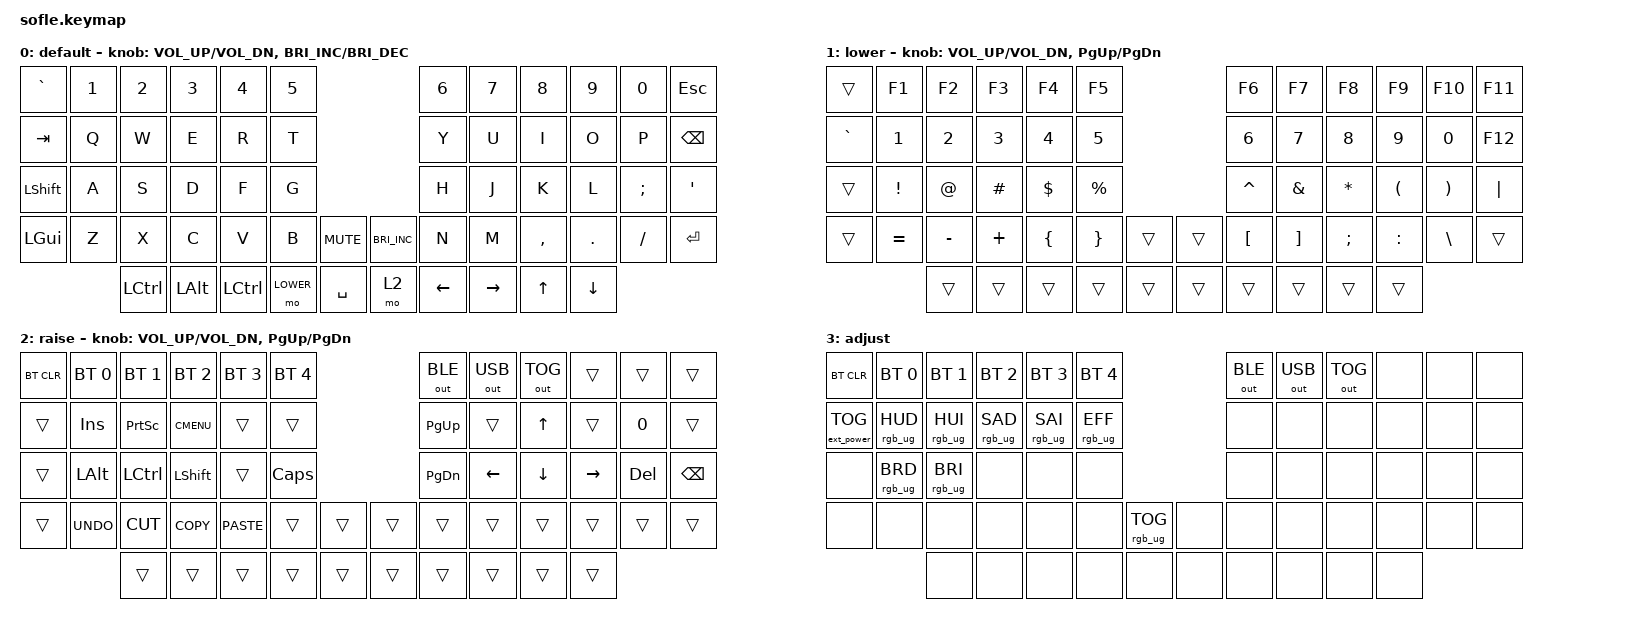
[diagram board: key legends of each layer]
/*
 * Copyright (c) 2020 The ZMK Contributors
 *
 * SPDX-License-Identifier: MIT
 */

#include <behaviors.dtsi>
#include <dt-bindings/zmk/bt.h>
#include <dt-bindings/zmk/ext_power.h>
#include <dt-bindings/zmk/keys.h>
#include <dt-bindings/zmk/outputs.h>
#include <dt-bindings/zmk/rgb.h>

#define BASE 0
#define LOWER 1
#define RAISE 2
#define ADJUST 3

/ {
    // Activate ADJUST layer by pressing raise and lower

    conditional_layers {
        compatible = "zmk,conditional-layers";

        adjust_layer {
            if-layers = <LOWER RAISE>;
            then-layer = <ADJUST>;
        };
    };

    keymap {
        compatible = "zmk,keymap";

        default_layer {
            display-name = "default";

            // ------------------------------------------------------------------------------------------------------------
            // |   `   |  1  |  2  |  3   |  4   |  5   |                   |  6   |  7    |  8    |  9   |   0   |       |
            // |  ESC  |  Q  |  W  |  E   |  R   |  T   |                   |  Y   |  U    |  I    |  O   |   P   | BKSPC |
            // |  TAB  |  A  |  S  |  D   |  F   |  G   |                   |  H   |  J    |  K    |  L   |   ;   |   '   |
            // | SHIFT |  Z  |  X  |  C   |  V   |  B   |  MUTE  |  |       |  N   |  M    |  ,    |  .   |   /   | SHIFT |
            //               | GUI | ALT  | CTRL | LOWER|  ENTER |  | SPACE | RAISE| CTRL  | ALT   | GUI  |

            bindings = <
&kp GRAVE   &kp N1  &kp N2     &kp N3    &kp N4     &kp N5                                         &kp N6    &kp N7           &kp N8        &kp N9    &kp N0    &kp ESC
&kp TAB     &kp Q   &kp W      &kp E     &kp R      &kp T                                          &kp Y     &kp U            &kp I         &kp O     &kp P     &kp BSPC
&kp LSHIFT  &kp A   &kp S      &kp D     &kp F      &kp G                                          &kp H     &kp J            &kp K         &kp L     &kp SEMI  &kp SQT
&kp LGUI    &kp Z   &kp X      &kp C     &kp V      &kp B      &kp C_MUTE    &kp C_BRIGHTNESS_INC  &kp N     &kp M            &kp COMMA     &kp DOT   &kp FSLH  &kp RETURN
                    &kp LCTRL  &kp LALT  &kp LCTRL  &mo LOWER  &kp SPACE     &mo 2                 &kp LEFT  &kp RIGHT_ARROW  &kp UP_ARROW  &kp DOWN
            >;

            sensor-bindings =
                <&inc_dec_kp C_VOL_UP C_VOL_DN>,
                <&inc_dec_kp C_BRIGHTNESS_INC C_BRIGHTNESS_DEC>;
        };

        lower_layer {
            display-name = "lower";

            // TODO: Some binds are waiting for shifted keycode support.
            // ------------------------------------------------------------------------------------------------------------
            // |       |  F1 |  F2 |  F3  |  F4  |  F5  |                   |  F6  |  F7   |  F8   |  F9  |  F10  |  F11  |
            // |   `   |  1  |  2  |  3   |  4   |  5   |                   |  6   |  7    |  8    |  9   |   0   |  F12  |
            // |       |  !  |  @  |  #   |  $   |  %   |                   |  ^   |  &    |  *    |  (   |   )   |   |   |
            // |       |  =  |  -  |  +   |  {   |  }   |        |  |       |  [   |  ]    |  ;    |  :   |   \   |       |
            //               |     |      |      |      |        |  |       |      |       |       |      |

            bindings = <
&trans     &kp F1     &kp F2     &kp F3    &kp F4    &kp F5                       &kp F6     &kp F7    &kp F8     &kp F9     &kp F10   &kp F11
&kp GRAVE  &kp N1     &kp N2     &kp N3    &kp N4    &kp N5                       &kp N6     &kp N7    &kp N8     &kp N9     &kp N0    &kp F12
&trans     &kp EXCL   &kp AT     &kp HASH  &kp DLLR  &kp PRCNT                    &kp CARET  &kp AMPS  &kp ASTRK  &kp LPAR   &kp RPAR  &kp PIPE
&trans     &kp EQUAL  &kp MINUS  &kp PLUS  &kp LBRC  &kp RBRC   &trans    &trans  &kp LBKT   &kp RBKT  &kp SEMI   &kp COLON  &kp BSLH  &trans
                      &trans     &trans    &trans    &trans     &trans    &trans  &trans     &trans    &trans     &trans
            >;

            sensor-bindings = <&inc_dec_kp C_VOL_UP C_VOL_DN &inc_dec_kp PG_UP PG_DN>;
        };

        raise_layer {
            display-name = "raise";

            // ------------------------------------------------------------------------------------------------------------
            // | BTCLR | BT1  | BT2  |  BT3  |  BT4  |  BT5 |                | OUT_BLE     | OUT_USB     | OUT_TOG     |      |       |       |
            // |       | INS  | PSCR | GUI   |       |      |                | PGUP        |             |   ^         |      |       |       |
            // |       | ALT  | CTRL | SHIFT |       | CAPS |                | PGDN        |   <-        |   v         |  ->  |  DEL  | BKSPC |
            // |       | UNDO | CUT  | COPY  | PASTE |      |      |  |      |             |             |             |      |       |       |
            //                |      |       |       |      |      |  |      |             |             |             |      |

            bindings = <
&bt BT_CLR  &bt BT_SEL 0  &bt BT_SEL 1  &bt BT_SEL 2  &bt BT_SEL 3  &bt BT_SEL 4                    &out OUT_BLE  &out OUT_USB  &out OUT_TOG  &trans     &trans   &trans
&trans      &kp INS       &kp PSCRN     &kp K_CMENU   &trans        &trans                          &kp PG_UP     &trans        &kp UP        &trans     &kp N0   &trans
&trans      &kp LALT      &kp LCTRL     &kp LSHFT     &trans        &kp CLCK                        &kp PG_DN     &kp LEFT      &kp DOWN      &kp RIGHT  &kp DEL  &kp BSPC
&trans      &kp K_UNDO    &kp K_CUT     &kp K_COPY    &kp K_PASTE   &trans        &trans    &trans  &trans        &trans        &trans        &trans     &trans   &trans
                          &trans        &trans        &trans        &trans        &trans    &trans  &trans        &trans        &trans        &trans
            >;

            sensor-bindings = <&inc_dec_kp C_VOL_UP C_VOL_DN &inc_dec_kp PG_UP PG_DN>;
        };

        adjust_layer {
            // ----------------------------------------------------------------------------------------------------------------------------
            // | BTCLR  |  BT1    |  BT2    |   BT3   |   BT4   |   BT5   |                  | OUT_BLE     | OUT_USB     | OUT_TOG     |      |       |       |
            // | EXTPWR | RGB_HUD | RGB_HUI | RGB_SAD | RGB_SAI | RGB_EFF |                  |             |             |             |      |       |       |
            // |        | RGB_BRD | RGB_BRI |         |         |         |                  |             |             |             |      |       |       |
            // |        |         |         |         |         |         | RGB_TOG | |      |             |             |             |      |       |       |
            //                    |         |         |         |         |         | |      |             |             |             |      |

            display-name = "adjust";
            bindings = <
&bt BT_CLR         &bt BT_SEL 0     &bt BT_SEL 1     &bt BT_SEL 2     &bt BT_SEL 3     &bt BT_SEL 4                               &out OUT_BLE  &out OUT_USB  &out OUT_TOG  &none  &none  &none
&ext_power EP_TOG  &rgb_ug RGB_HUD  &rgb_ug RGB_HUI  &rgb_ug RGB_SAD  &rgb_ug RGB_SAI  &rgb_ug RGB_EFF                            &none         &none         &none         &none  &none  &none
&none              &rgb_ug RGB_BRD  &rgb_ug RGB_BRI  &none            &none            &none                                      &none         &none         &none         &none  &none  &none
&none              &none            &none            &none            &none            &none            &rgb_ug RGB_TOG    &none  &none         &none         &none         &none  &none  &none
                                    &none            &none            &none            &none            &none              &none  &none         &none         &none         &none
            >;
        };
    };
};
